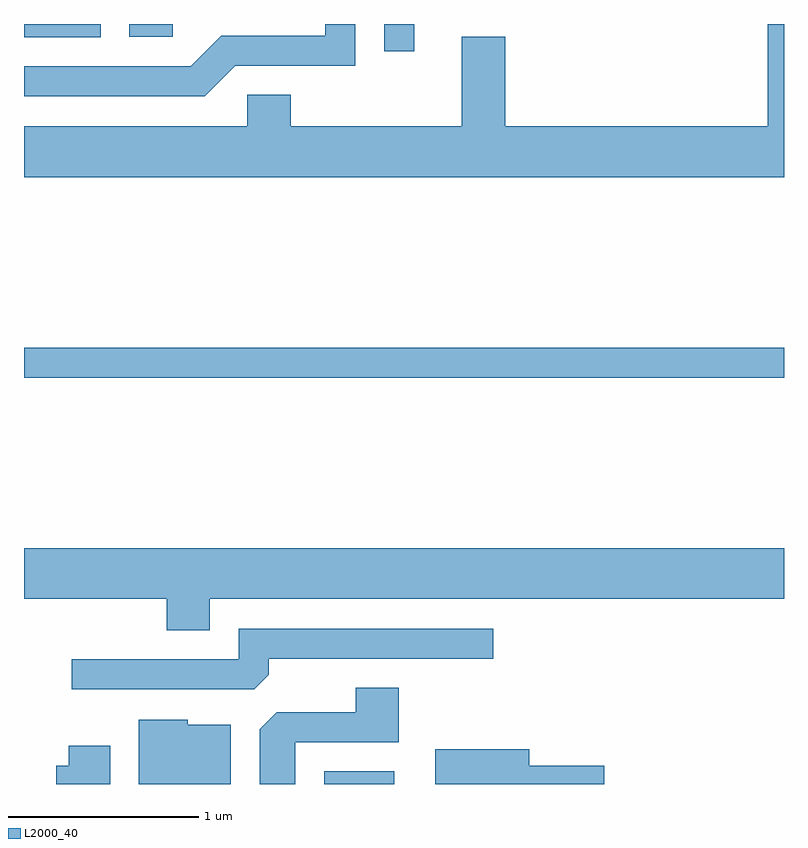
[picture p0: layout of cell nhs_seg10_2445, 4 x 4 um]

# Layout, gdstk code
import gdstk
lib = gdstk.Library(unit=1e-6, precision=1e-09)
def R(c, l, rs):  # rectangles x0, y0, x1, y1
    for r in rs: c.add(gdstk.rectangle(r[:2], r[2:], *l))
def P(c, l, *ps):  # polygons
    for p in ps: c.add(gdstk.Polygon(p, *l))
L2000_40 = (2000, 40)

nhs_seg10_2445 = lib.new_cell('nhs_seg10_2445')
R(nhs_seg10_2445, L2000_40, [(259.191,2088.522,259.559,2088.589), (257.611,2090.661,261.611,2090.819), (259.506,2092.378,259.664,2092.522), (257.611,2092.451,258.014,2092.522), (258.166,2092.456,258.394,2092.522)])
P(nhs_seg10_2445, L2000_40, [(261.611,2092.522),(261.526,2092.522),(261.526,2091.984),(260.144,2091.984),(260.144,2092.454),(259.916,2092.454),(259.916,2091.984),(259.014,2091.984),(259.014,2092.149),(258.786,2092.149),(258.786,2091.984),(257.611,2091.984),(257.611,2091.716),(261.611,2091.716)],
  [(258.722,2092.301),(259.354,2092.301),(259.354,2092.522),(259.196,2092.522),(259.196,2092.459),(258.649,2092.459),(258.489,2092.299),(257.611,2092.299),(257.611,2092.141),(258.562,2092.141)],
  [(258.589,2089.496),(261.611,2089.496),(261.611,2089.764),(257.611,2089.764),(257.611,2089.496),(258.361,2089.496),(258.361,2089.331),(258.589,2089.331)],
  [(258.899,2089.097),(258.899,2089.181),(260.082,2089.181),(260.082,2089.339),(258.741,2089.339),(258.741,2089.179),(257.863,2089.179),(257.863,2089.021),(258.824,2089.021)],
  [(259.039,2088.741),(259.584,2088.741),(259.584,2089.029),(259.356,2089.029),(259.356,2088.899),(258.942,2088.899),(258.851,2088.809),(258.851,2088.522),(259.039,2088.522)],
  [(258.699,2088.834),(258.474,2088.834),(258.474,2088.859),(258.216,2088.859),(258.216,2088.522),(258.699,2088.522)],
  [(258.064,2088.724),(257.846,2088.724),(257.846,2088.619),(257.781,2088.619),(257.781,2088.522),(258.064,2088.522)],
  [(260.664,2088.619),(260.269,2088.619),(260.269,2088.704),(259.776,2088.704),(259.776,2088.522),(260.664,2088.522)])

lib.write_gds('nhs_seg10_2445.gds')
